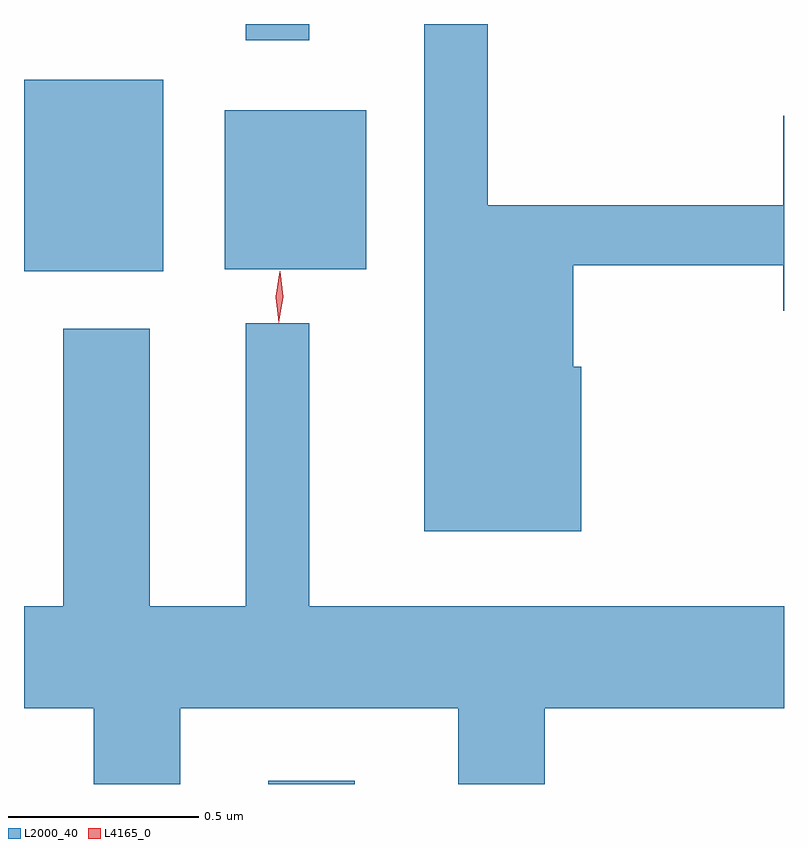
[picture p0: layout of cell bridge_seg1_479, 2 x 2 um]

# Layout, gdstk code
import gdstk
lib = gdstk.Library(unit=1e-6, precision=1e-09)
def R(c, l, rs):  # rectangles x0, y0, x1, y1
    for r in rs: c.add(gdstk.rectangle(r[:2], r[2:], *l))
def P(c, l, *ps):  # polygons
    for p in ps: c.add(gdstk.Polygon(p, *l))
L2000_40 = (2000, 40)
L4165_0 = (4165, 0)

bridge_seg1_479 = lib.new_cell('bridge_seg1_479')
R(bridge_seg1_479, L2000_40, [(216.151,857.196,216.379,857.204), (215.508,858.546,215.874,859.049), (216.036,858.551,216.409,858.969), (216.091,859.153,216.259,859.196)])
P(bridge_seg1_479, L2000_40, [(216.974,858.294),(216.954,858.294),(216.954,858.561),(217.506,858.561),(217.506,858.441),(217.508,858.441),(217.508,858.954),(217.506,858.954),(217.506,858.719),(216.729,858.719),(216.729,859.196),(216.561,859.196),(216.561,857.861),(216.974,857.861)],
  [(215.919,857.396),(216.651,857.396),(216.651,857.196),(216.879,857.196),(216.879,857.396),(217.508,857.396),(217.508,857.664),(216.259,857.664),(216.259,858.408),(216.091,858.408),(216.091,857.664),(215.839,857.664),(215.839,858.394),(215.611,858.394),(215.611,857.664),(215.508,857.664),(215.508,857.396),(215.691,857.396),(215.691,857.196),(215.919,857.196)])
P(bridge_seg1_479, L4165_0, [(216.178,858.413),(216.178,858.413),(216.17,858.477),(216.181,858.541),(216.181,858.542),(216.182,858.541),(216.19,858.477),(216.179,858.413)],
  [(216.178,858.41),(216.178,858.41),(216.17,858.478),(216.181,858.546),(216.181,858.546),(216.182,858.546),(216.19,858.478),(216.179,858.41)])

lib.write_gds('bridge_seg1_479.gds')
